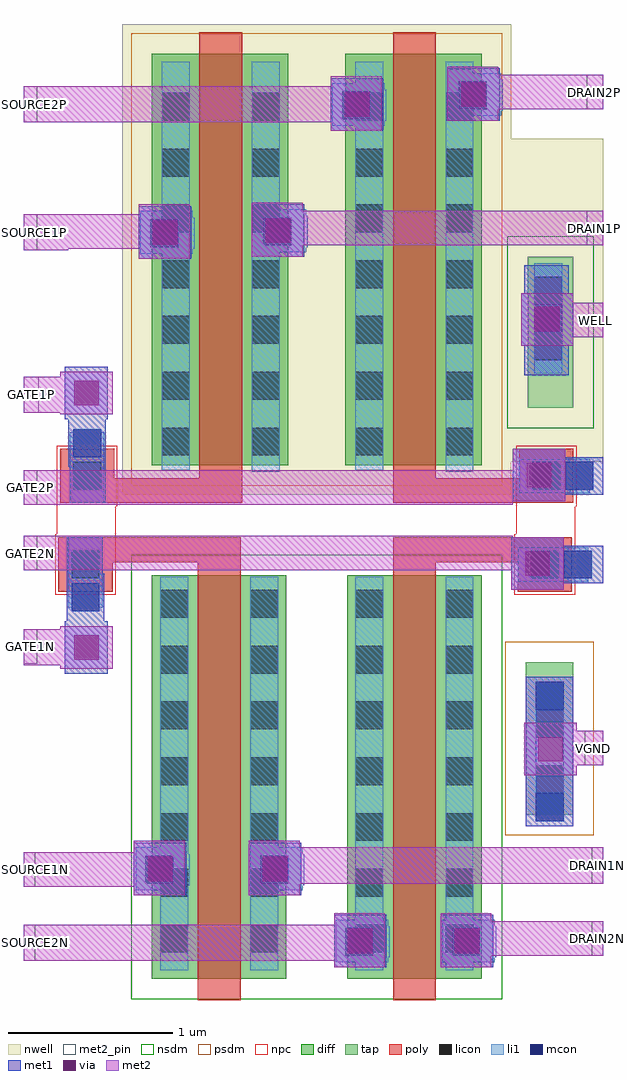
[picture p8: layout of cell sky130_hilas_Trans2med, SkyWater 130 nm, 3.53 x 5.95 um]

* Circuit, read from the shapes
.subckt sky130_hilas_Trans2med DRAIN1N DRAIN1P DRAIN2N DRAIN2P GATE1N GATE1P GATE2N GATE2P SOURCE1N SOURCE1P SOURCE2N SOURCE2P VGND WELL
XM1 DRAIN1N GATE1N SOURCE1N VGND sky130_fd_pr__nfet_01v8 w=2.46 l=0.26
XM2 DRAIN2N GATE2N SOURCE2N VGND sky130_fd_pr__nfet_01v8 w=2.46 l=0.26
XM3 DRAIN1P GATE1P SOURCE1P WELL sky130_fd_pr__pfet_01v8 w=2.51 l=0.26
XM4 DRAIN2P GATE2P SOURCE2P WELL sky130_fd_pr__pfet_01v8 w=2.51 l=0.26
.ends

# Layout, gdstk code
from math import pi, radians
import gdstk
lib = gdstk.Library(unit=1e-6, precision=1e-09)
def R(c, l, rs):  # rectangles x0, y0, x1, y1
    for r in rs: c.add(gdstk.rectangle(r[:2], r[2:], *l))
def A(c, l, x, y, w, h, nx, ny, dx, dy):  # array of equal rectangles
    R(c, l, [(x+i*dx, y+j*dy, x+i*dx+w, y+j*dy+h) for i in range(nx) for j in range(ny)])
nwell = (64, 20)
diff = (65, 20)
tap = (65, 44)
poly = (66, 20)
licon = (66, 44)
li1 = (67, 20)
mcon = (67, 44)
met1 = (68, 20)
via = (68, 44)
met2_pin = (69, 16)
met2 = (69, 20)
nsdm = (93, 44)
psdm = (94, 20)
npc = (95, 20)

sky130_hilas_poly2m2 = lib.new_cell('sky130_hilas_poly2m2')
R(sky130_hilas_poly2m2, poly, [(-0.09,-0.08,0.24,0.25)])
R(sky130_hilas_poly2m2, licon, [(-0.01,0,0.16,0.17)])
R(sky130_hilas_poly2m2, li1, [(-0.01,-0.2,0.16,-0.18), (-0.03,-0.18,0.18,0.25)])
R(sky130_hilas_poly2m2, mcon, [(-0.01,-0.2,0.16,-0.03)])
R(sky130_hilas_poly2m2, met1, [(-0.04,-0.26,0.19,-0.03), (-0.08,-0.03,0.24,0.29)])
R(sky130_hilas_poly2m2, via, [(0.005,0.055,0.155,0.205)])
R(sky130_hilas_poly2m2, met2, [(-0.08,-0.03,0.24,0.29)])
R(sky130_hilas_poly2m2, npc, [(-0.11,-0.1,0.26,0.27)])

sky130_hilas_li2m2 = lib.new_cell('sky130_hilas_li2m2')
R(sky130_hilas_li2m2, li1, [(-0.13,-0.12,0.19,-0.09), (-0.13,-0.09,0.2,0.1), (-0.13,0.1,0.19,0.14)])
R(sky130_hilas_li2m2, mcon, [(-0.07,-0.08,0.1,0.09)])
R(sky130_hilas_li2m2, met1, [(-0.14,-0.15,0.18,0.17)])
R(sky130_hilas_li2m2, via, [(-0.055,-0.065,0.095,0.085)])
R(sky130_hilas_li2m2, met2, [(-0.14,-0.15,0.17,0.18)])

sky130_hilas_pfetmed = lib.new_cell('sky130_hilas_pFETmed')
R(sky130_hilas_pfetmed, nwell, [(1.47,-0.22,2.66,2.65)])
R(sky130_hilas_pfetmed, diff, [(1.65,-0.04,2.48,2.47)])
R(sky130_hilas_pfetmed, poly, [(1.94,-0.17,2.2,2.6)])
A(sky130_hilas_pfetmed, licon, 1.71, 0.02, 0.17, 0.17, 1, 7, 0, 0.34)
A(sky130_hilas_pfetmed, licon, 2.26, 0.02, 0.17, 0.17, 1, 7, 0, 0.34)
R(sky130_hilas_pfetmed, li1, [(2.26,-0.08,2.43,2.42), (1.71,-0.07,1.88,2.42)])
R(sky130_hilas_pfetmed, psdm, [(1.525,-0.165,2.605,2.595)])

sky130_hilas_poly2m1 = lib.new_cell('sky130_hilas_poly2m1')
R(sky130_hilas_poly2m1, poly, [(-0.09,-0.08,0.24,0.25)])
R(sky130_hilas_poly2m1, licon, [(-0.01,0,0.16,0.17)])
R(sky130_hilas_poly2m1, li1, [(-0.01,-0.2,0.16,-0.18), (-0.03,-0.18,0.18,0.25)])
R(sky130_hilas_poly2m1, mcon, [(-0.01,-0.2,0.16,-0.03)])
R(sky130_hilas_poly2m1, met1, [(-0.04,-0.26,0.19,0.03), (-0.03,0.03,0.19,0.25)])
R(sky130_hilas_poly2m1, npc, [(-0.11,-0.1,0.26,0.27)])

sky130_hilas_m12m2 = lib.new_cell('sky130_hilas_m12m2')
R(sky130_hilas_m12m2, met1, [(-0.06,-0.1,0.2,0.22)])
R(sky130_hilas_m12m2, via, [(-0.005,-0.015,0.145,0.135)])
R(sky130_hilas_m12m2, met2, [(-0.09,-0.07,0.23,0.19)])

sky130_hilas_nfetmed = lib.new_cell('sky130_hilas_nFETmed')
R(sky130_hilas_nfetmed, diff, [(-0.12,-0.31,0.7,2.15)])
R(sky130_hilas_nfetmed, poly, [(0.16,-0.44,0.42,2.28)])
A(sky130_hilas_nfetmed, licon, -0.07, -0.15, 0.17, 0.17, 1, 7, 0, 0.34)
A(sky130_hilas_nfetmed, licon, 0.48, -0.15, 0.17, 0.17, 1, 7, 0, 0.34)
R(sky130_hilas_nfetmed, li1, [(-0.07,-0.26,0.1,2.14), (0.48,-0.26,0.65,2.14)])
R(sky130_hilas_nfetmed, nsdm, [(-0.245,-0.435,0.825,2.275)])

sky130_hilas_trans2med = lib.new_cell('sky130_hilas_Trans2med')
R(sky130_hilas_trans2med, nwell, [(-0.83,1.85,-0.27,3.82)])
R(sky130_hilas_trans2med, tap, [(-0.74,-0.3,-0.45,0.63), (-0.73,2.18,-0.45,3.1)])
R(sky130_hilas_trans2med, poly, [(-3.27,1.24,-2.48,1.39), (-1.55,1.24,-0.76,1.39), (-3.26,1.6,-2.47,1.75), (-1.55,1.6,-0.76,1.75)])
R(sky130_hilas_trans2med, licon, [(-0.68,-0.17,-0.51,0), (-0.68,0.17,-0.51,0.34), (-0.69,2.47,-0.52,2.64), (-0.69,2.81,-0.52,2.98)])
R(sky130_hilas_trans2med, li1, [(-0.68,-0.34,-0.51,0.51), (-0.69,2.39,-0.52,3.06)])
R(sky130_hilas_trans2med, mcon, [(-0.68,-0.34,-0.51,-0.17), (-0.68,0.34,-0.51,0.51), (-0.69,2.64,-0.52,2.81)])
R(sky130_hilas_trans2med, met1, [(-0.74,-0.37,-0.45,0.54), (-0.28,1.11,-0.27,1.34), (-0.75,2.38,-0.48,2.56), (-0.77,2.56,-0.45,2.88), (-0.75,2.88,-0.48,3.05)])
R(sky130_hilas_trans2med, via, [(-0.665,0.025,-0.515,0.175), (-0.685,2.645,-0.535,2.795)])
R(sky130_hilas_trans2med, met2_pin, [(-3.8,-1.19,-3.73,-0.97), (-0.34,-1.16,-0.27,-0.95), (-3.8,-0.74,-3.73,-0.53), (-0.34,-0.72,-0.27,-0.5), (-0.38,0,-0.27,0.21), (-3.8,0.62,-3.72,0.83), (-3.8,1.19,-3.72,1.4), (-3.8,1.59,-3.72,1.8), (-3.8,2.15,-3.71,2.37), (-0.36,2.61,-0.27,2.82), (-3.8,3.14,-3.72,3.36), (-0.37,3.17,-0.27,3.38), (-3.8,3.92,-3.72,4.14), (-0.37,4,-0.27,4.21)])
R(sky130_hilas_trans2med, met2, [(-3.8,-1.19,-1.81,-0.97), (-0.96,-1.16,-0.27,-0.95), (-3.8,-0.74,-3.09,-0.53), (-2.14,-0.72,-0.27,-0.5), (-0.75,-0.06,-0.43,0), (-0.75,0,-0.27,0.21), (-0.75,0.21,-0.43,0.26), (-3.8,0.61,-3.55,0.83), (-3.8,1.19,-0.82,1.4), (-3.8,1.59,-0.82,1.8), (-3.8,2.15,-3.55,2.37), (-0.77,2.56,-0.45,2.61), (-0.77,2.61,-0.27,2.82), (-0.77,2.82,-0.45,2.88), (-3.8,3.14,-3.53,3.15), (-3.8,3.15,-3.05,3.36), (-2.1,3.17,-0.27,3.38), (-3.8,3.92,-1.84,4.14), (-0.95,4,-0.27,4.21)])
R(sky130_hilas_trans2med, nsdm, [(-2.075,-1.425,-1.955,1.285), (-0.855,2.055,-0.325,3.225)])
R(sky130_hilas_trans2med, psdm, [(-0.865,-0.425,-0.325,0.755), (-2.065,1.705,-1.965,4.465)])
R(sky130_hilas_trans2med, npc, [(-3.6,1.41,-3.24,1.58), (-0.8,1.41,-0.44,1.58)])
sky130_hilas_trans2med.add(gdstk.Reference(sky130_hilas_poly2m2, (-0.53,1.69), rotation=pi/2))
sky130_hilas_trans2med.add(gdstk.Reference(sky130_hilas_li2m2, (-1.79,4.02)))
sky130_hilas_trans2med.add(gdstk.Reference(sky130_hilas_li2m2, (-1.08,4.08)))
sky130_hilas_trans2med.add(gdstk.Reference(sky130_hilas_pfetmed, (-3.49,1.87)))
sky130_hilas_trans2med.add(gdstk.Reference(sky130_hilas_poly2m1, (-3.49,1.85), x_reflection=True))
sky130_hilas_trans2med.add(gdstk.Reference(sky130_hilas_li2m2, (-2.96,3.24)))
sky130_hilas_trans2med.add(gdstk.Reference(sky130_hilas_li2m2, (-2.27,3.25)))
sky130_hilas_trans2med.add(gdstk.Reference(sky130_hilas_m12m2, (-3.49,2.21)))
sky130_hilas_trans2med.add(gdstk.Reference(sky130_hilas_pfetmed, (-4.67,1.87)))
sky130_hilas_trans2med.add(gdstk.Reference(sky130_hilas_poly2m2, (-0.54,1.15), rotation=pi/2))
sky130_hilas_trans2med.add(gdstk.Reference(sky130_hilas_li2m2, (-1.77,-1.08)))
sky130_hilas_trans2med.add(gdstk.Reference(sky130_hilas_li2m2, (-1.12,-1.08)))
sky130_hilas_trans2med.add(gdstk.Reference(sky130_hilas_nfetmed, (-1.71,-0.99)))
sky130_hilas_trans2med.add(gdstk.Reference(sky130_hilas_poly2m1, (-3.35,1.14), rotation=pi, x_reflection=True))
sky130_hilas_trans2med.add(gdstk.Reference(sky130_hilas_li2m2, (-2.99,-0.64)))
sky130_hilas_trans2med.add(gdstk.Reference(sky130_hilas_li2m2, (-2.29,-0.64)))
sky130_hilas_trans2med.add(gdstk.Reference(sky130_hilas_m12m2, (-3.49,0.66)))
sky130_hilas_trans2med.add(gdstk.Reference(sky130_hilas_nfetmed, (-2.9,-0.99)))
sky130_hilas_trans2med.add(gdstk.Label('GATE1N', (-3.76,0.725), layer=69, texttype=16))
sky130_hilas_trans2med.add(gdstk.Label('GATE2P', (-3.76,1.695), layer=69, texttype=16))
sky130_hilas_trans2med.add(gdstk.Label('GATE1P', (-3.755,2.26), layer=69, texttype=16))
sky130_hilas_trans2med.add(gdstk.Label('GATE2N', (-3.76,1.295), layer=69, texttype=16))
sky130_hilas_trans2med.add(gdstk.Label('SOURCE1P', (-3.76,3.25), layer=69, texttype=16))
sky130_hilas_trans2med.add(gdstk.Label('SOURCE2P', (-3.76,4.03), layer=69, texttype=16))
sky130_hilas_trans2med.add(gdstk.Label('SOURCE2N', (-3.765,-1.08), layer=69, texttype=16))
sky130_hilas_trans2med.add(gdstk.Label('SOURCE1N', (-3.765,-0.635), layer=69, texttype=16))
sky130_hilas_trans2med.add(gdstk.Label('DRAIN1N', (-0.305,-0.61), layer=69, texttype=16))
sky130_hilas_trans2med.add(gdstk.Label('DRAIN2N', (-0.305,-1.055), layer=69, texttype=16))
sky130_hilas_trans2med.add(gdstk.Label('DRAIN1P', (-0.32,3.275), layer=69, texttype=16))
sky130_hilas_trans2med.add(gdstk.Label('DRAIN2P', (-0.32,4.105), layer=69, texttype=16))
sky130_hilas_trans2med.add(gdstk.Label('VGND', (-0.325,0.105), layer=69, texttype=16))
sky130_hilas_trans2med.add(gdstk.Label('WELL', (-0.315,2.715), layer=69, texttype=16))

lib.write_gds('sky130_hilas_Trans2med.gds')
